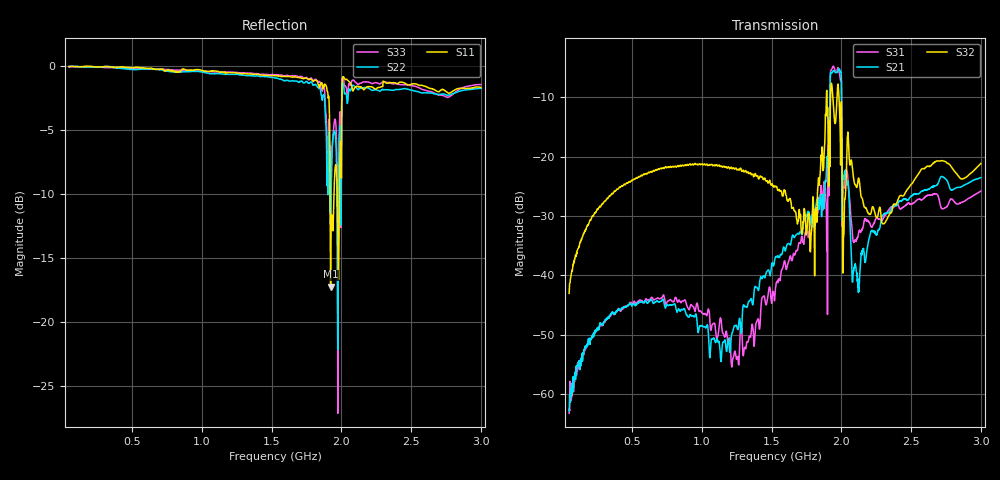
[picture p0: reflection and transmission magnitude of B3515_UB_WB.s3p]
! Matrix data file written by TouchstoneData, EPCOS AG
! FILENAME: "LQ98_UB_WB.s3p_newformat"
! COMMENT: "(LQ98_UB_WB.s3p)"
! INFO: nport=3, nfreq=1601
! DATE: "Thu Apr  2 15:29:28 2009"
! USER: "Michael Schemies"
! port | pin | signal
!  1  |  6  |  input
!  2  |  3  |  output
!  3  |  4  |  output
# MHZ S MA R 50
! freq  magS11 angS11  magS12 angS12  magS13 angS13  ...
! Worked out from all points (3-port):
!   1601 points, 50 MHz to 3 GHz, reference 50 ohm
!   strongest paths, dB at 50 MHz, 787.5 MHz, 1.525 GHz, 2.263 GHz, 3 GHz:
!     S32: -43.0, -21.7, -25.1, -29.9, -21.1
!     S21: -62.9, -44.9, -37.1, -32.5, -23.5
!     S31: -63.2, -44.3, -43.3, -30.4, -25.8
!   lowest |S11| = -17.2 dB at 1.923 GHz (marker M1), VSWR 1.32, Z = 39.4 + j6.26 ohm
!   |S11| at or under -10 dB: 1.919 GHz to 1.948 GHz (28.31 MHz wide, 1.46 % of centre); 1.971 GHz to 1.986 GHz (15.55 MHz wide, 0.786 % of centre)
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50  0.996 -4.1  0.0007206 86.8  0.0006937 67.9
    0.0007199 87.1  0.9997 -2.8  0.007037 82.0
    0.0006898 67.6  0.007056 82.0  0.9909 -3.0
573.625  0.9853 -44.2  0.006024 57.4  0.00616 52.6
         0.006022 57.1  0.975 -31.7  0.06929 56.3
         0.006134 52.3  0.06903 56.3  0.9786 -34.2
1525  0.9176 -105.0  0.01393 163.6  0.006862 158.1
      0.0139 163.1  0.8991 -74.3  0.05567 21.6
      0.006865 157.9  0.05583 21.8  0.9255 -79.8
1777.594  0.8897 -127.7  0.02734 131.0  0.02925 146.2
          0.02726 130.4  0.865 -91.2  0.01595 69.5
          0.02923 145.9  0.01598 69.8  0.8952 -96.8
1888.219  0.8443 -164.8  0.06136 84.3  0.04575 85.6
          0.06116 83.9  0.598 -135.3  0.223 103.0
          0.04563 85.2  0.223 102.9  0.6596 -136.1
1923.25  0.1375 145.5  0.5179 -20.0  0.5255 152.8
         0.5169 -20.2  0.2417 68.2  0.3347 82.3
         0.5245 152.4  0.3349 82.2  0.2408 56.8
1960.125  0.4123 -93.9  0.5111 174.4  0.5169 -1.2
          0.5107 174.1  0.5152 -97.9  0.2009 -149.8
          0.5168 -1.8  0.2011 -150.1  0.6013 -96.4
2004.375  0.8103 -20.9  0.1011 -66.7  0.1124 101.9
          0.1011 -67.0  0.8068 -20.7  0.1062 -95.8
          0.1123 101.4  0.1061 -96.0  0.8409 -29.9
2118.688  0.8328 -105.3  0.007954 83.2  0.02114 166.2
          0.007946 82.9  0.8095 -78.2  0.06174 46.4
          0.02111 165.4  0.06171 45.9  0.8478 -84.3
3000  0.8262 -156.9  0.06669 115.9  0.05141 107.8
      0.06687 115.5  0.8187 -115.9  0.08804 124.0
      0.05134 107.4  0.08769 124.0  0.8474 -124.4
